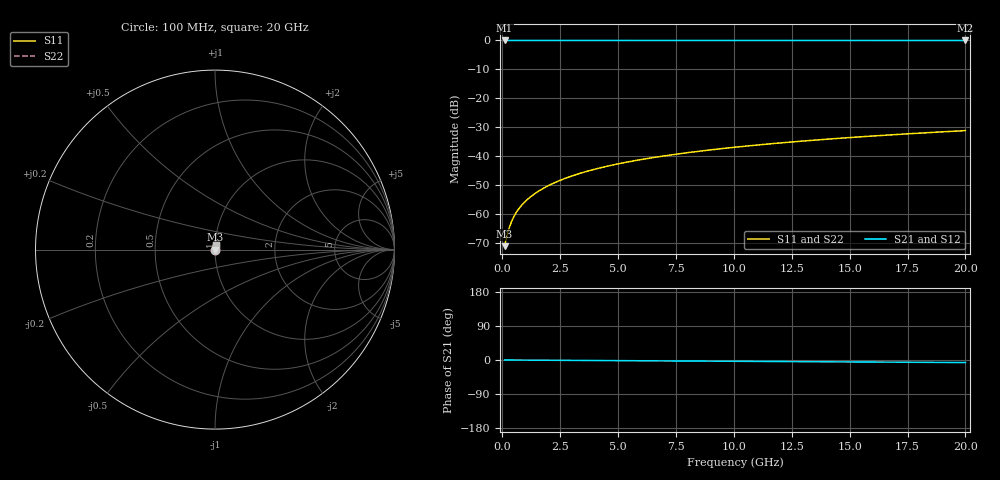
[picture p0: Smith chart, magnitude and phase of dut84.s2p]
! Touchstone file exported from HFSS 2026.1.0
!  File:  C:/ffzhzh/LocalFiles/Ansys_Project_Files/temp_train_TSV_84_1782959536_6388.aedt
!  Generated:  10:34:07 AM Jul  2, 2026
!  Design:  TSV
!  Project:  temp_train_TSV_84_1782959536_6388
! Variables:
!  h_bsmrdl = 2um
!  h_ox = 20um
!  h_rdl = 5um
!  h_sub = 64.49um
!  h_tmrdl = 5um
!  h_tsv = 64.49um
!  h_via = 3um
!  l_bsmrdl = 300um
!  l_sub = 413.04um
!  l_tmrdl = 200um
!  m_sub = 200um
!  pitch = 35.47um
!  r_tsv = 6.52um
!  s_tmrdl = 10um
!  w_bsmrdl = 18um
!  w_sub = 500um
!  w_tmrdl = 12um
!  x_tsv_center1 = 206um
!  x_tsv_center2 = 524um
!  x_tsv_center3 = 736um
!  x_tsv_center4 = 1054um
!  x_tsv_center5 = 1266um
!  x_tsv_center6 = 1584um
# GHz S MA R 50.000000
! Terminal data exported
! Port[1] = TSV1_1_T1
! Port[2] = TSV1_1_T2
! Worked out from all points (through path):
!   200 points, 100 MHz to 20 GHz, reference 50 ohm
!   highest |S21| = 0.00 dB at 100 MHz (marker M1); lowest = 0.0 dB at 20 GHz (marker M2)
!   lowest |S11| = -71.2 dB at 100 MHz (marker M3), VSWR 1.00, Z = 50 + j0.0177 ohm
!   |S11| at or under -10 dB: start of sweep to end of sweep
!   |S22| runs from -71.2 to -31.2 dB; largest |S21 - S12| = 3.2e-15
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0.1  0.0002756 40.1  0.9998 -0.0  0.9998 -0.0  0.0002756 40.1
! Gamma 0 0 0 0
! Port Impedance 50 0 50 0
0.2  0.0004163 57.8  0.9998 -0.1  0.9998 -0.1  0.0004163 57.8
0.3  0.0005745 65.6  0.9998 -0.1  0.9998 -0.1  0.0005745 65.6
0.4  0.0007351 69.5  0.9997 -0.1  0.9997 -0.1  0.0007351 69.5
0.5  0.0008937 71.9  0.9997 -0.2  0.9997 -0.2  0.0008937 71.9
0.6  0.001049 73.4  0.9997 -0.2  0.9997 -0.2  0.001049 73.4
0.7  0.001202 74.6  0.9997 -0.2  0.9997 -0.2  0.001202 74.6
0.8  0.001352 75.5  0.9997 -0.3  0.9997 -0.3  0.001352 75.5
1  0.001646 76.9  0.9996 -0.4  0.9996 -0.4  0.001646 76.9
1.4  0.002226 78.8  0.9996 -0.5  0.9996 -0.5  0.002226 78.8
1.7  0.002657 79.7  0.9995 -0.6  0.9995 -0.6  0.002657 79.7
2  0.003087 80.5  0.9995 -0.7  0.9995 -0.7  0.003087 80.5
2.7  0.004088 81.5  0.9995 -0.9  0.9995 -0.9  0.004088 81.5
3.5  0.005223 82.1  0.9994 -1.2  0.9994 -1.2  0.005223 82.1
4.2  0.006206 82.4  0.9993 -1.4  0.9993 -1.4  0.006206 82.4
5  0.00732 82.5  0.9992 -1.7  0.9992 -1.7  0.00732 82.5
6.8  0.009797 82.6  0.9991 -2.3  0.9991 -2.3  0.009797 82.6
8.3  0.01184 82.6  0.999 -2.8  0.999 -2.8  0.01184 82.6
10.1  0.01428 82.4  0.9988 -3.4  0.9988 -3.4  0.01428 82.4
13.4  0.01873 81.8  0.9986 -4.5  0.9986 -4.5  0.01873 81.8
16.7  0.02315 81.0  0.9984 -5.6  0.9984 -5.6  0.02315 81.0
20  0.02753 80.2  0.9981 -6.7  0.9981 -6.7  0.02753 80.2
